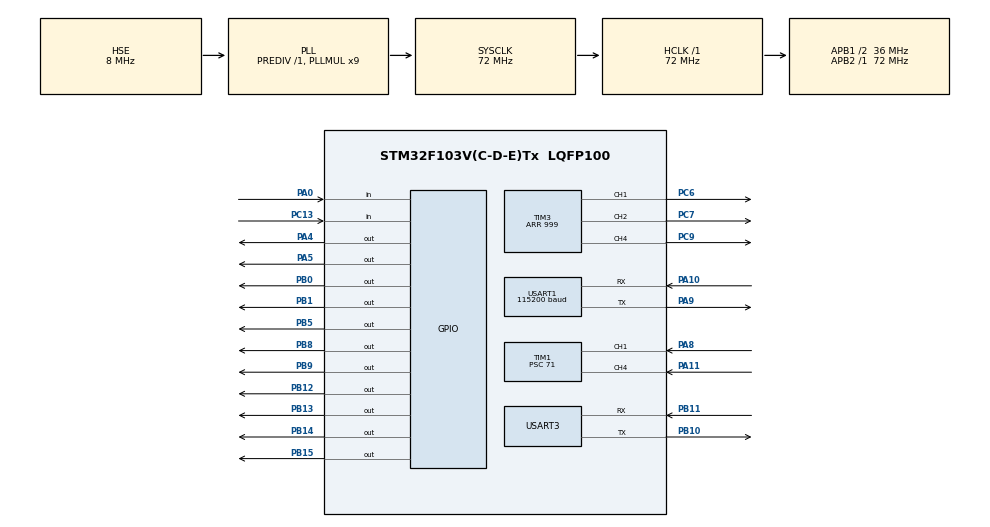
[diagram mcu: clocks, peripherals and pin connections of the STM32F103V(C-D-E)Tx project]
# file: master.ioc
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Mcu.Family=STM32F1
Mcu.Name=STM32F103V(C-D-E)Tx
Mcu.Package=LQFP100
NVIC.PriorityGroup=NVIC_PRIORITYGROUP_4
NVIC.TIM1_CC_IRQn=true\:0\:0\:false\:false\:true\:true\:true
NVIC.USART1_IRQn=true\:0\:0\:false\:false\:true\:true\:true
OSC_IN.Mode=HSE-External-Oscillator
OSC_IN.Signal=RCC_OSC_IN
OSC_OUT.Mode=HSE-External-Oscillator
OSC_OUT.Signal=RCC_OSC_OUT
PA0-WKUP.Signal=GPIO_Input
PA10.Mode=Asynchronous
PA10.Signal=USART1_RX
PA11.Signal=S_TIM1_CH4
PA13.Mode=Serial_Wire
PA13.Signal=SYS_JTMS-SWDIO
PA14.Mode=Serial_Wire
PA14.Signal=SYS_JTCK-SWCLK
PA4.Signal=GPIO_Output
PA5.Signal=GPIO_Output
PA8.Signal=S_TIM1_CH1
PA9.Mode=Asynchronous
PA9.Signal=USART1_TX
PB0.GPIO_Speed=GPIO_SPEED_FREQ_HIGH
PB0.PinState=GPIO_PIN_SET
PB0.Signal=GPIO_Output
PB1.GPIO_Speed=GPIO_SPEED_FREQ_HIGH
PB1.PinState=GPIO_PIN_SET
PB1.Signal=GPIO_Output
PB10.Mode=Asynchronous
PB10.Signal=USART3_TX
PB11.Mode=Asynchronous
PB11.Signal=USART3_RX
PB12.GPIO_Speed=GPIO_SPEED_FREQ_HIGH
PB12.PinState=GPIO_PIN_RESET
PB12.Signal=GPIO_Output
PB13.GPIO_Speed=GPIO_SPEED_FREQ_HIGH
PB13.PinState=GPIO_PIN_RESET
PB13.Signal=GPIO_Output
PB14.GPIO_Speed=GPIO_SPEED_FREQ_HIGH
PB14.Signal=GPIO_Output
PB15.GPIO_Speed=GPIO_SPEED_FREQ_HIGH
PB15.Signal=GPIO_Output
PB5.GPIO_Speed=GPIO_SPEED_FREQ_HIGH
PB5.PinState=GPIO_PIN_SET
PB5.Signal=GPIO_Output
PB8.GPIO_Speed=GPIO_SPEED_FREQ_HIGH
PB8.Signal=GPIO_Output
PB9.GPIO_Speed=GPIO_SPEED_FREQ_HIGH
PB9.Signal=GPIO_Output
PC13-TAMPER-RTC.Signal=GPIO_Input
PC14-OSC32_IN.Mode=LSE-External-Oscillator
PC14-OSC32_IN.Signal=RCC_OSC32_IN
PC15-OSC32_OUT.Mode=LSE-External-Oscillator
PC15-OSC32_OUT.Signal=RCC_OSC32_OUT
PC6.Signal=S_TIM3_CH1
PC7.Signal=S_TIM3_CH2
PC9.Signal=S_TIM3_CH4
ProjectManager.HeapSize=0x200
ProjectManager.StackSize=0x400
ProjectManager.TargetToolchain=MDK-ARM V5
RCC.AHBFreq_Value=72000000
RCC.APB1CLKDivider=RCC_HCLK_DIV2
RCC.APB1Freq_Value=36000000
RCC.APB1TimFreq_Value=72000000
RCC.APB2Freq_Value=72000000
RCC.APB2TimFreq_Value=72000000
RCC.HCLKFreq_Value=72000000
RCC.PLLMUL=RCC_PLL_MUL9
RCC.PLLSourceVirtual=RCC_PLLSOURCE_HSE
RCC.SYSCLKFreq_VALUE=72000000
RCC.SYSCLKSource=RCC_SYSCLKSOURCE_PLLCLK
RCC.USBFreq_Value=72000000
SH.S_TIM1_CH1.0=TIM1_CH1,Input_Capture1_from_TI1
SH.S_TIM1_CH4.0=TIM1_CH4,Input_Capture4_from_TI4
SH.S_TIM3_CH1.0=TIM3_CH1,PWM Generation1 CH1
SH.S_TIM3_CH2.0=TIM3_CH2,PWM Generation2 CH2
SH.S_TIM3_CH4.0=TIM3_CH4,PWM Generation4 CH4
TIM1.Channel-Input_Capture1_from_TI1=TIM_CHANNEL_1
TIM1.Channel-Input_Capture4_from_TI4=TIM_CHANNEL_4
TIM1.Period=0xffff-1
TIM1.Prescaler=71
TIM3.Channel-PWM\ Generation1\ CH1=TIM_CHANNEL_1
TIM3.Channel-PWM\ Generation2\ CH2=TIM_CHANNEL_2
TIM3.Channel-PWM\ Generation4\ CH4=TIM_CHANNEL_4
TIM3.Period=999
USART1.BaudRate=115200
USART1.VirtualMode=VM_ASYNC
USART3.VirtualMode=VM_ASYNC
VP_TIM3_VS_ClockSourceINT.Mode=Internal
board=custom

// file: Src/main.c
/* USER CODE BEGIN Header */
/**
  ******************************************************************************
  * @file           : main.c
  * @brief          : Main program body
  ******************************************************************************
  * @attention
  *
  * <h2><center>&copy; Copyright (c) 2021 STMicroelectronics.
  * All rights reserved.</center></h2>
  *
  * This software component is licensed by ST under BSD 3-Clause license,
  * the "License"; You may not use this file except in compliance with the
  * License. You may obtain a copy of the License at:
  *                        opensource.org/licenses/BSD-3-Clause
  *
  ******************************************************************************
  */
/* USER CODE END Header */

#include "main.h"

/* USER CODE BEGIN Includes */
#include "main.h"
#include "stdio.h"
#include <string.h>
#include "lcd.h"
#include "helper_func.h"
#include "bluetooth.h"
#include "joystick.h"
#include "motor.h"
#include "ultrasound.h"
/* USER CODE END Includes */

/* USER CODE BEGIN PM */
uint8_t* bt_buffer;
uint8_t Rxstr[8];
uint8_t v[4];
union Data bt_data;
struct Joystick my_joystick;
struct Motor my_motor;
uint8_t bufferx[400];
/* USER CODE END PM */

TIM_HandleTypeDef htim1;
TIM_HandleTypeDef htim3;

UART_HandleTypeDef huart1;
UART_HandleTypeDef huart3;

/* USER CODE BEGIN PV */
char buffer [10];
char buffer2 [30];
char buffer3 [30];
char buffer4 [30];
char buffer5 [30];

uint32_t IC_Val1_0 = 0;
uint32_t IC_Val2_0 = 0;
uint32_t IC_Val1_1 = 0;
uint32_t IC_Val2_1 = 0;
uint32_t Difference_0 = 0;
uint32_t Difference_1 = 0;
uint8_t Is_First_Captured_0 = 0;
uint8_t Is_First_Captured_1 = 0;
uint8_t Distance_0 = 50;
uint8_t Distance_1 = 50;

/* USER CODE END PV */

void SystemClock_Config(void);
static void MX_GPIO_Init(void);
static void MX_USART1_UART_Init(void);
static void MX_TIM1_Init(void);
static void MX_TIM3_Init(void);
static void MX_USART3_UART_Init(void);
/* USER CODE BEGIN PFP */

void set_pwm(TIM_HandleTypeDef*, uint32_t, float);

/* USER CODE END PFP */

/* USER CODE BEGIN 0 */
/**
void HAL_UART_TxCpltCallback(UART_HandleTypeDef *huart)
{
	available=1;
}
*/

/* USER CODE END 0 */

int main(void)
{

  /* MCU Configuration--------------------------------------------------------*/

  /* Reset of all peripherals, Initializes the Flash interface and the Systick. */
  HAL_Init();

  /* Configure the system clock */
  SystemClock_Config();

  /* Initialize all configured peripherals */
  MX_GPIO_Init();
  MX_USART1_UART_Init();
  MX_TIM1_Init();
  MX_TIM3_Init();
  MX_USART3_UART_Init();
  /* USER CODE BEGIN 2 */
	HAL_TIM_PWM_Start(&htim3, TIM_CHANNEL_1);
	HAL_TIM_PWM_Start(&htim3, TIM_CHANNEL_2);
	HAL_TIM_PWM_Start(&htim3, TIM_CHANNEL_4);

	HAL_TIM_IC_Start_IT(&htim1, TIM_CHANNEL_1);
	HAL_TIM_IC_Start_IT(&htim1, TIM_CHANNEL_4);
	LCD_INIT();
	Joystick_Init();
	Motor_Init();

	int i =0;
	uint8_t timer = 0;
	uint8_t state = 0;
	uint8_t start = 0;
	uint8_t initial_start = 0;
	HAL_UART_Receive_IT(&huart1,Rxstr,8);
	//HAL_UART_Transmit_IT(&huart3, Rxstr,8);

  /* USER CODE END 2 */

  /* Infinite loop */
  while (1)
  {

    /* USER CODE BEGIN 3 */

		HCSR04_Read();

		if(initial_start){
			if (Distance_1 < 15)
			{
				state = 0;
				start = 2;
			}
			else
			{
				state = 1;
				start = 1;
			}
		}

		if ((state==0) && (HAL_GPIO_ReadPin(GPIOA, GPIO_PIN_0)==GPIO_PIN_SET)){
			initial_start = 1;
			state = 1;
			start += 1;
		}

		if ((state==1) && (HAL_GPIO_ReadPin(GPIOA, GPIO_PIN_0)==GPIO_PIN_RESET)){
			state = 0;
		}

		if (start%2==1 && initial_start){

			/*
			sprintf(buffer, "ABS_X: %.3d %.3d %.3d %.3d %.3d %.3d %.3d %.3d", Rxstr[0], Rxstr[1], Rxstr[2], Rxstr[3], Rxstr[4], Rxstr[5], Rxstr[6], Rxstr[7]);
			LCD_DrawString(0, 100, buffer);
			*/

			sprintf(buffer, "A%.3f", my_joystick.ABS_X);
			strcpy(bufferx, buffer);
			HAL_UART_Transmit(&huart3, bufferx, 10, HAL_MAX_DELAY);
			//HAL_UART_Transmit(&huart3, buffer, 8, HAL_MAX_DELAY);
			//LCD_DrawString(0, 100, buffer);

			sprintf(buffer2, "B%.3f", my_joystick.ABS_Y);
			strcpy(bufferx, buffer2);
			HAL_UART_Transmit(&huart3, bufferx, 10, HAL_MAX_DELAY);
			//LCD_DrawString(0, 130, buffer);

			sprintf(buffer3, "C%.3f", my_motor.motor_0_speed);
			strcpy(bufferx, buffer3);
			HAL_UART_Transmit(&huart3, bufferx, 10, HAL_MAX_DELAY);

			//LCD_DrawString(0, 160, buffer);

			sprintf(buffer4, "D%.3f", my_motor.motor_1_speed);
			strcpy(bufferx, buffer4);
			HAL_UART_Transmit(&huart3, bufferx, 10, HAL_MAX_DELAY);
			//LCD_DrawString(0, 190, buffer)

			sprintf(buffer5, "E%.3f", my_motor.motor_2_speed);
			strcpy(bufferx, buffer5);
			HAL_UART_Transmit(&huart3, bufferx, 10, HAL_MAX_DELAY);
			//LCD_DrawString(0, 220, buffer);

			/*
			HAL_GPIO_WritePin(GPIOB, GPIO_PIN_12, GPIO_PIN_RESET);
			HAL_GPIO_WritePin(GPIOB, GPIO_PIN_13, GPIO_PIN_SET);
			set_pwm(&htim3, TIM_CHANNEL_4, 1);

			HAL_GPIO_WritePin(GPIOB, GPIO_PIN_14, GPIO_PIN_RESET);
			HAL_GPIO_WritePin(GPIOB, GPIO_PIN_15, GPIO_PIN_SET);
			set_pwm(&htim3, TIM_CHANNEL_2, 1);

			HAL_GPIO_WritePin(GPIOB, GPIO_PIN_8, GPIO_PIN_RESET);
			HAL_GPIO_WritePin(GPIOB, GPIO_PIN_9, GPIO_PIN_SET);
			set_pwm(&htim3, TIM_CHANNEL_1, 1);
			*/

			if (my_motor.motor_0_speed > 0){
				HAL_GPIO_WritePin(GPIOB, GPIO_PIN_12, GPIO_PIN_RESET);
				HAL_GPIO_WritePin(GPIOB, GPIO_PIN_13, GPIO_PIN_SET);
				set_pwm(&htim3, TIM_CHANNEL_4, my_motor.motor_0_speed/100);
			}else{
				HAL_GPIO_WritePin(GPIOB, GPIO_PIN_12, GPIO_PIN_SET);
				HAL_GPIO_WritePin(GPIOB, GPIO_PIN_13, GPIO_PIN_RESET);
				set_pwm(&htim3, TIM_CHANNEL_4, -1*my_motor.motor_0_speed/100);
			}

			if (my_motor.motor_1_speed > 0){
				HAL_GPIO_WritePin(GPIOB, GPIO_PIN_14, GPIO_PIN_RESET);
				HAL_GPIO_WritePin(GPIOB, GPIO_PIN_15, GPIO_PIN_SET);
				set_pwm(&htim3, TIM_CHANNEL_2, my_motor.motor_1_speed/100);
			}else{
				HAL_GPIO_WritePin(GPIOB, GPIO_PIN_14, GPIO_PIN_SET);
				HAL_GPIO_WritePin(GPIOB, GPIO_PIN_15, GPIO_PIN_RESET);
				set_pwm(&htim3, TIM_CHANNEL_2, -1*my_motor.motor_1_speed/100);
			}

			if (my_motor.motor_2_speed > 0){
				HAL_GPIO_WritePin(GPIOB, GPIO_PIN_8, GPIO_PIN_RESET);
				HAL_GPIO_WritePin(GPIOB, GPIO_PIN_9, GPIO_PIN_SET);
				set_pwm(&htim3, TIM_CHANNEL_1, my_motor.motor_2_speed/100);
			}else{
				HAL_GPIO_WritePin(GPIOB, GPIO_PIN_8, GPIO_PIN_SET);
				HAL_GPIO_WritePin(GPIOB, GPIO_PIN_9, GPIO_PIN_RESET);
				set_pwm(&htim3, TIM_CHANNEL_1, -1*my_motor.motor_2_speed/100);
			}

			if (timer%10==0){
				if (i%3==0) {
					HAL_GPIO_WritePin(GPIOB, GPIO_PIN_0|GPIO_PIN_1, GPIO_PIN_SET);
					HAL_GPIO_WritePin(GPIOB, GPIO_PIN_5, GPIO_PIN_RESET);
				}
				else if (i%3==1) {
					HAL_GPIO_WritePin(GPIOB, GPIO_PIN_5|GPIO_PIN_1, GPIO_PIN_SET);
					HAL_GPIO_WritePin(GPIOB, GPIO_PIN_0, GPIO_PIN_RESET);
				}
				else if (i%3==2) {
					HAL_GPIO_WritePin(GPIOB, GPIO_PIN_5|GPIO_PIN_0, GPIO_PIN_SET);
					HAL_GPIO_WritePin(GPIOB, GPIO_PIN_1, GPIO_PIN_RESET);
				}
				timer = 0;
				i += 1;
			}

			timer += 1;

			start = 1;
		}else{

			set_pwm(&htim3, TIM_CHANNEL_4, 0);
			set_pwm(&htim3, TIM_CHANNEL_2, 0);
			set_pwm(&htim3, TIM_CHANNEL_1, 0);
		}
		HAL_Delay(50);
	}
  /* USER CODE END 3 */
}

void SystemClock_Config(void)
{
  RCC_OscInitTypeDef RCC_OscInitStruct = {0};
  RCC_ClkInitTypeDef RCC_ClkInitStruct = {0};

  /** Initializes the CPU, AHB and APB busses clocks
  */
  RCC_OscInitStruct.OscillatorType = RCC_OSCILLATORTYPE_HSE;
  RCC_OscInitStruct.HSEState = RCC_HSE_ON;
  RCC_OscInitStruct.HSEPredivValue = RCC_HSE_PREDIV_DIV1;
  RCC_OscInitStruct.HSIState = RCC_HSI_ON;
  RCC_OscInitStruct.PLL.PLLState = RCC_PLL_ON;
  RCC_OscInitStruct.PLL.PLLSource = RCC_PLLSOURCE_HSE;
  RCC_OscInitStruct.PLL.PLLMUL = RCC_PLL_MUL9;
  if (HAL_RCC_OscConfig(&RCC_OscInitStruct) != HAL_OK)
  {
    Error_Handler();
  }
  /** Initializes the CPU, AHB and APB busses clocks
  */
  RCC_ClkInitStruct.ClockType = RCC_CLOCKTYPE_HCLK|RCC_CLOCKTYPE_SYSCLK
                              |RCC_CLOCKTYPE_PCLK1|RCC_CLOCKTYPE_PCLK2;
  RCC_ClkInitStruct.SYSCLKSource = RCC_SYSCLKSOURCE_PLLCLK;
  RCC_ClkInitStruct.AHBCLKDivider = RCC_SYSCLK_DIV1;
  RCC_ClkInitStruct.APB1CLKDivider = RCC_HCLK_DIV2;
  RCC_ClkInitStruct.APB2CLKDivider = RCC_HCLK_DIV1;

  if (HAL_RCC_ClockConfig(&RCC_ClkInitStruct, FLASH_LATENCY_2) != HAL_OK)
  {
    Error_Handler();
  }
}

static void MX_TIM1_Init(void)
{

  TIM_MasterConfigTypeDef sMasterConfig = {0};
  TIM_IC_InitTypeDef sConfigIC = {0};

  htim1.Instance = TIM1;
  htim1.Init.Prescaler = 71;
  htim1.Init.CounterMode = TIM_COUNTERMODE_UP;
  htim1.Init.Period = 0xffff-1;
  htim1.Init.ClockDivision = TIM_CLOCKDIVISION_DIV1;
  htim1.Init.RepetitionCounter = 0;
  htim1.Init.AutoReloadPreload = TIM_AUTORELOAD_PRELOAD_DISABLE;
  if (HAL_TIM_IC_Init(&htim1) != HAL_OK)
  {
    Error_Handler();
  }
  sMasterConfig.MasterOutputTrigger = TIM_TRGO_RESET;
  sMasterConfig.MasterSlaveMode = TIM_MASTERSLAVEMODE_DISABLE;
  if (HAL_TIMEx_MasterConfigSynchronization(&htim1, &sMasterConfig) != HAL_OK)
  {
    Error_Handler();
  }
  sConfigIC.ICPolarity = TIM_INPUTCHANNELPOLARITY_RISING;
  sConfigIC.ICSelection = TIM_ICSELECTION_DIRECTTI;
  sConfigIC.ICPrescaler = TIM_ICPSC_DIV1;
  sConfigIC.ICFilter = 0;
  if (HAL_TIM_IC_ConfigChannel(&htim1, &sConfigIC, TIM_CHANNEL_1) != HAL_OK)
  {
    Error_Handler();
  }
  if (HAL_TIM_IC_ConfigChannel(&htim1, &sConfigIC, TIM_CHANNEL_4) != HAL_OK)
  {
    Error_Handler();
  }

}

static void MX_TIM3_Init(void)
{

  TIM_ClockConfigTypeDef sClockSourceConfig = {0};
  TIM_MasterConfigTypeDef sMasterConfig = {0};
  TIM_OC_InitTypeDef sConfigOC = {0};

  htim3.Instance = TIM3;
  htim3.Init.Prescaler = 0;
  htim3.Init.CounterMode = TIM_COUNTERMODE_UP;
  htim3.Init.Period = 999;
  htim3.Init.ClockDivision = TIM_CLOCKDIVISION_DIV1;
  htim3.Init.AutoReloadPreload = TIM_AUTORELOAD_PRELOAD_DISABLE;
  if (HAL_TIM_Base_Init(&htim3) != HAL_OK)
  {
    Error_Handler();
  }
  sClockSourceConfig.ClockSource = TIM_CLOCKSOURCE_INTERNAL;
  if (HAL_TIM_ConfigClockSource(&htim3, &sClockSourceConfig) != HAL_OK)
  {
    Error_Handler();
  }
  if (HAL_TIM_PWM_Init(&htim3) != HAL_OK)
  {
    Error_Handler();
  }
  sMasterConfig.MasterOutputTrigger = TIM_TRGO_RESET;
  sMasterConfig.MasterSlaveMode = TIM_MASTERSLAVEMODE_DISABLE;
  if (HAL_TIMEx_MasterConfigSynchronization(&htim3, &sMasterConfig) != HAL_OK)
  {
    Error_Handler();
  }
  sConfigOC.OCMode = TIM_OCMODE_PWM1;
  sConfigOC.Pulse = 0;
  sConfigOC.OCPolarity = TIM_OCPOLARITY_HIGH;
  sConfigOC.OCFastMode = TIM_OCFAST_DISABLE;
  if (HAL_TIM_PWM_ConfigChannel(&htim3, &sConfigOC, TIM_CHANNEL_1) != HAL_OK)
  {
    Error_Handler();
  }
  if (HAL_TIM_PWM_ConfigChannel(&htim3, &sConfigOC, TIM_CHANNEL_2) != HAL_OK)
  {
    Error_Handler();
  }
  if (HAL_TIM_PWM_ConfigChannel(&htim3, &sConfigOC, TIM_CHANNEL_4) != HAL_OK)
  {
    Error_Handler();
  }
  HAL_TIM_MspPostInit(&htim3);

}

static void MX_USART1_UART_Init(void)
{

  huart1.Instance = USART1;
  huart1.Init.BaudRate = 115200;
  huart1.Init.WordLength = UART_WORDLENGTH_8B;
  huart1.Init.StopBits = UART_STOPBITS_1;
  huart1.Init.Parity = UART_PARITY_NONE;
  huart1.Init.Mode = UART_MODE_TX_RX;
  huart1.Init.HwFlowCtl = UART_HWCONTROL_NONE;
  huart1.Init.OverSampling = UART_OVERSAMPLING_16;
  if (HAL_UART_Init(&huart1) != HAL_OK)
  {
    Error_Handler();
  }

}

static void MX_USART3_UART_Init(void)
{

  huart3.Instance = USART3;
  huart3.Init.BaudRate = 115200;
  huart3.Init.WordLength = UART_WORDLENGTH_8B;
  huart3.Init.StopBits = UART_STOPBITS_1;
  huart3.Init.Parity = UART_PARITY_NONE;
  huart3.Init.Mode = UART_MODE_TX_RX;
  huart3.Init.HwFlowCtl = UART_HWCONTROL_NONE;
  huart3.Init.OverSampling = UART_OVERSAMPLING_16;
  if (HAL_UART_Init(&huart3) != HAL_OK)
  {
    Error_Handler();
  }

}

static void MX_GPIO_Init(void)
{
  GPIO_InitTypeDef GPIO_InitStruct = {0};

  /* GPIO Ports Clock Enable */
  __HAL_RCC_GPIOC_CLK_ENABLE();
  __HAL_RCC_GPIOA_CLK_ENABLE();
  __HAL_RCC_GPIOB_CLK_ENABLE();

  /*Configure GPIO pin Output Level */
  HAL_GPIO_WritePin(GPIOA, GPIO_PIN_4|GPIO_PIN_5, GPIO_PIN_RESET);

  /*Configure GPIO pin Output Level */
  HAL_GPIO_WritePin(GPIOB, GPIO_PIN_0|GPIO_PIN_1|GPIO_PIN_5, GPIO_PIN_SET);

  /*Configure GPIO pin Output Level */
  HAL_GPIO_WritePin(GPIOB, GPIO_PIN_12|GPIO_PIN_13|GPIO_PIN_14|GPIO_PIN_15
                          |GPIO_PIN_8|GPIO_PIN_9, GPIO_PIN_RESET);

  /*Configure GPIO pin : PC13 */
  GPIO_InitStruct.Pin = GPIO_PIN_13;
  GPIO_InitStruct.Mode = GPIO_MODE_INPUT;
  GPIO_InitStruct.Pull = GPIO_NOPULL;
  HAL_GPIO_Init(GPIOC, &GPIO_InitStruct);

  /*Configure GPIO pin : PA0 */
  GPIO_InitStruct.Pin = GPIO_PIN_0;
  GPIO_InitStruct.Mode = GPIO_MODE_INPUT;
  GPIO_InitStruct.Pull = GPIO_NOPULL;
  HAL_GPIO_Init(GPIOA, &GPIO_InitStruct);

  /*Configure GPIO pins : PA4 PA5 */
  GPIO_InitStruct.Pin = GPIO_PIN_4|GPIO_PIN_5;
  GPIO_InitStruct.Mode = GPIO_MODE_OUTPUT_PP;
  GPIO_InitStruct.Pull = GPIO_NOPULL;
  GPIO_InitStruct.Speed = GPIO_SPEED_FREQ_LOW;
  HAL_GPIO_Init(GPIOA, &GPIO_InitStruct);

  /*Configure GPIO pins : PB0 PB1 PB12 PB13
                           PB14 PB15 PB5 PB8
                           PB9 */
  GPIO_InitStruct.Pin = GPIO_PIN_0|GPIO_PIN_1|GPIO_PIN_12|GPIO_PIN_13
                          |GPIO_PIN_14|GPIO_PIN_15|GPIO_PIN_5|GPIO_PIN_8
                          |GPIO_PIN_9;
  GPIO_InitStruct.Mode = GPIO_MODE_OUTPUT_PP;
  GPIO_InitStruct.Pull = GPIO_NOPULL;
  GPIO_InitStruct.Speed = GPIO_SPEED_FREQ_HIGH;
  HAL_GPIO_Init(GPIOB, &GPIO_InitStruct);

}

/* USER CODE BEGIN 4 */

void set_pwm(TIM_HandleTypeDef* htim, uint32_t channel, float percent){
    TIM_OC_InitTypeDef sConfigOC;

		uint32_t period = htim->Init.Period;
		uint32_t value = (int)(percent*(period+1));
    sConfigOC.OCMode = TIM_OCMODE_PWM1;
    sConfigOC.Pulse = value;
    sConfigOC.OCPolarity = TIM_OCPOLARITY_HIGH;
    sConfigOC.OCFastMode = TIM_OCFAST_DISABLE;
    HAL_TIM_PWM_ConfigChannel(htim, &sConfigOC, channel);
    HAL_TIM_PWM_Start(htim, channel);
}

/* USER CODE END 4 */

void Error_Handler(void)
{
}

/************************ (C) COPYRIGHT STMicroelectronics *****END OF FILE****/
